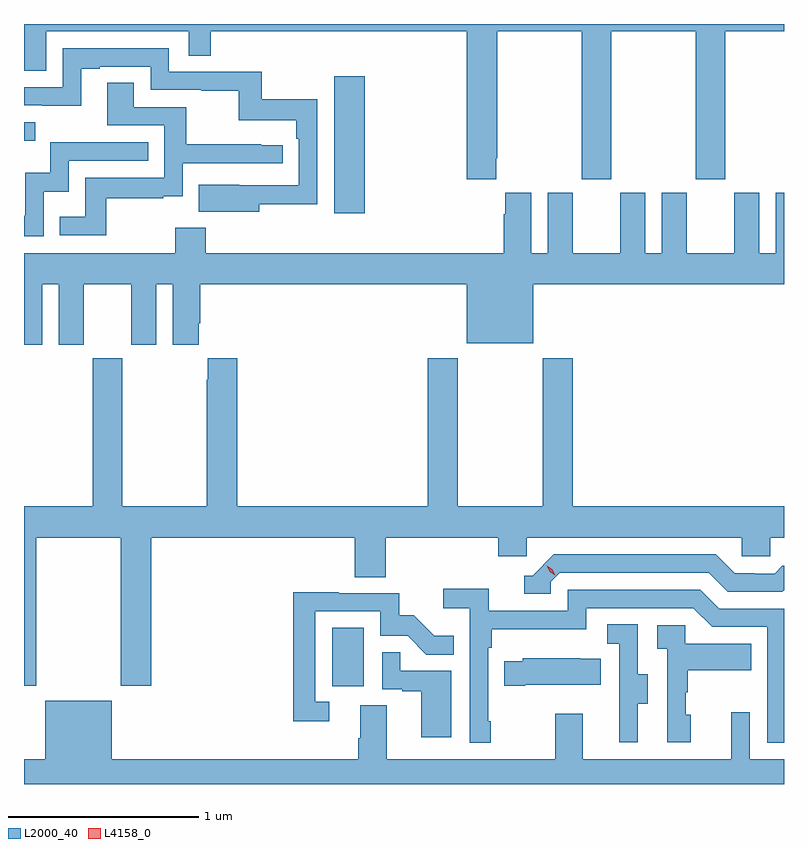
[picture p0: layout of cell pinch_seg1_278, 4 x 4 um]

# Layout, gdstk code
import gdstk
lib = gdstk.Library(unit=1e-6, precision=1e-09)
def R(c, l, rs):  # rectangles x0, y0, x1, y1
    for r in rs: c.add(gdstk.rectangle(r[:2], r[2:], *l))
def P(c, l, *ps):  # polygons
    for p in ps: c.add(gdstk.Polygon(p, *l))
L2000_40 = (2000, 40)
L4158_0 = (4158, 0)

pinch_seg1_278 = lib.new_cell('pinch_seg1_278')
R(pinch_seg1_278, L2000_40, [(902.36,561.606,902.524,561.913), (902.369,564.096,902.53,564.817), (900.737,564.476,900.796,564.573)])
P(pinch_seg1_278, L2000_40, [(903.223,564.385),(903.228,564.385),(903.228,565.052),(903.673,565.052),(903.673,564.273),(903.828,564.273),(903.828,565.052),(904.273,565.052),(904.273,564.273),(904.428,564.273),(904.428,565.052),(904.737,565.052),(904.737,565.091),(900.737,565.091),(900.737,564.844),(900.853,564.844),(900.853,565.052),(901.605,565.052),(901.605,564.925),(901.721,564.925),(901.721,565.052),(903.068,565.052),(903.068,564.273),(903.223,564.273)],
  [(901.975,564.142),(902.28,564.142),(902.28,564.694),(901.987,564.694),(901.987,564.84),(901.5,564.84),(901.5,564.963),(900.942,564.963),(900.942,564.759),(900.737,564.759),(900.737,564.663),(900.834,564.663),(900.834,564.662),(901.039,564.662),(901.039,564.855),(901.135,564.855),(901.135,564.867),(901.404,564.867),(901.404,564.744),(901.669,564.744),(901.669,564.739),(901.866,564.739),(901.866,564.584),(902.171,564.584),(902.171,564.488),(902.184,564.488),(902.184,564.243),(901.871,564.243),(901.871,564.244),(901.657,564.244),(901.657,564.104),(901.975,564.104)],
  [(901.171,564.174),(901.469,564.174),(901.469,564.185),(901.572,564.185),(901.572,564.357),(902.098,564.357),(902.098,564.453),(901.985,564.453),(901.985,564.458),(901.592,564.458),(901.592,564.654),(901.315,564.654),(901.315,564.782),(901.175,564.782),(901.175,564.558),(901.476,564.558),(901.476,564.282),(901.06,564.282),(901.06,564.076),(900.925,564.076),(900.925,563.979),(901.171,563.979)],
  [(900.84,564.209),(900.972,564.209),(900.972,564.372),(901.391,564.372),(901.391,564.468),(900.876,564.468),(900.876,564.307),(900.743,564.307),(900.743,564.082),(900.737,564.082),(900.737,563.973),(900.84,563.973)],
  [(904.737,564.202),(904.694,564.202),(904.694,563.884),(904.606,563.884),(904.606,564.202),(904.475,564.202),(904.475,563.884),(904.225,563.884),(904.225,564.202),(904.094,564.202),(904.094,563.884),(904.006,563.884),(904.006,564.202),(903.875,564.202),(903.875,563.884),(903.625,563.884),(903.625,564.202),(903.494,564.202),(903.494,563.884),(903.406,563.884),(903.406,564.202),(903.269,564.202),(903.269,564.089),(903.263,564.089),(903.263,563.884),(901.694,563.884),(901.694,564.019),(901.534,564.019),(901.534,563.884),(900.737,563.884),(900.737,563.403),(900.832,563.403),(900.832,563.72),(900.92,563.72),(900.92,563.403),(901.051,563.403),(901.051,563.72),(901.301,563.72),(901.301,563.403),(901.432,563.403),(901.432,563.72),(901.52,563.72),(901.52,563.403),(901.657,563.403),(901.657,563.515),(901.664,563.515),(901.664,563.72),(903.068,563.72),(903.068,563.411),(903.418,563.411),(903.418,563.72),(904.737,563.72)],
  [(900.801,562.388),(901.246,562.388),(901.246,561.609),(901.406,561.609),(901.406,562.388),(902.477,562.388),(902.477,562.18),(902.642,562.18),(902.642,562.388),(903.233,562.388),(903.233,562.29),(903.384,562.29),(903.384,562.388),(904.515,562.388),(904.515,562.29),(904.665,562.29),(904.665,562.388),(904.737,562.388),(904.737,562.552),(903.626,562.552),(903.626,563.332),(903.466,563.332),(903.466,562.552),(903.021,562.552),(903.021,563.332),(902.861,563.332),(902.861,562.552),(901.859,562.552),(901.859,563.332),(901.703,563.332),(901.703,563.219),(901.699,563.219),(901.699,562.552),(901.254,562.552),(901.254,563.332),(901.099,563.332),(901.099,562.552),(900.737,562.552),(900.737,561.609),(900.801,561.609)],
  [(903.51,562.155),(903.558,562.203),(904.341,562.203),(904.44,562.104),(904.729,562.104),(904.737,562.112),(904.737,562.24),(904.729,562.24),(904.687,562.197),(904.584,562.197),(904.584,562.2),(904.477,562.2),(904.378,562.299),(903.525,562.299),(903.414,562.188),(903.371,562.188),(903.371,562.092),(903.51,562.092)],
  [(903.193,561.421),(903.18,561.421),(903.18,561.809),(903.2,561.809),(903.2,561.905),(903.696,561.905),(903.696,562.017),(904.26,562.017),(904.359,561.918),(904.65,561.918),(904.65,561.309),(904.737,561.309),(904.737,562.014),(904.396,562.014),(904.297,562.113),(903.6,562.113),(903.6,562.002),(903.182,562.002),(903.182,562.118),(902.943,562.118),(902.943,562.016),(903.084,562.016),(903.084,561.309),(903.193,561.309)],
  [(902.344,561.525),(902.271,561.525),(902.271,561.999),(902.613,561.999),(902.613,561.87),(902.757,561.87),(902.855,561.772),(902.999,561.772),(902.999,561.871),(902.895,561.871),(902.788,561.978),(902.712,561.978),(902.712,562.095),(902.393,562.095),(902.393,562.1),(902.155,562.1),(902.155,561.42),(902.344,561.42)],
  [(903.967,561.514),(904.021,561.514),(904.021,561.669),(903.966,561.669),(903.966,561.932),(903.807,561.932),(903.807,561.829),(903.87,561.829),(903.87,561.525),(903.869,561.525),(903.869,561.312),(903.967,561.312)],
  [(904.246,561.456),(904.221,561.456),(904.221,561.575),(904.231,561.575),(904.231,561.689),(904.565,561.689),(904.565,561.829),(904.218,561.829),(904.218,561.927),(904.071,561.927),(904.071,561.803),(904.122,561.803),(904.122,561.312),(904.246,561.312)],
  [(902.986,561.687),(902.717,561.687),(902.717,561.785),(902.622,561.785),(902.622,561.591),(902.729,561.591),(902.729,561.579),(902.828,561.579),(902.828,561.336),(902.986,561.336)],
  [(903.376,561.614),(903.773,561.614),(903.773,561.751),(903.665,561.751),(903.665,561.754),(903.363,561.754),(903.363,561.736),(903.265,561.736),(903.265,561.607),(903.376,561.607)],
  [(904.737,561.22),(904.557,561.22),(904.557,561.469),(904.46,561.469),(904.46,561.22),(903.679,561.22),(903.679,561.46),(903.532,561.46),(903.532,561.22),(902.647,561.22),(902.647,561.506),(902.507,561.506),(902.507,561.332),(902.495,561.332),(902.495,561.22),(901.198,561.22),(901.198,561.529),(900.848,561.529),(900.848,561.22),(900.737,561.22),(900.737,561.091),(904.737,561.091)])
P(pinch_seg1_278, L4158_0, [(903.534,562.189),(903.503,562.208),(903.487,562.241),(903.487,562.241),(903.487,562.241),(903.518,562.222),(903.534,562.19),(903.534,562.189)])

lib.write_gds('pinch_seg1_278.gds')
